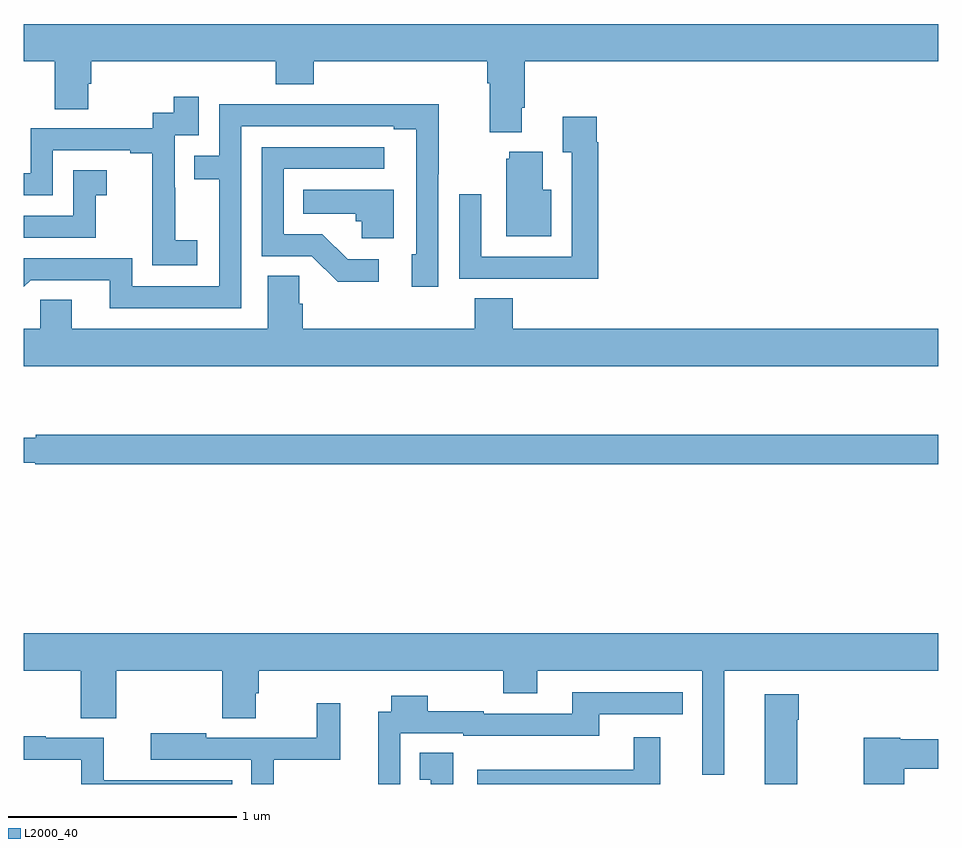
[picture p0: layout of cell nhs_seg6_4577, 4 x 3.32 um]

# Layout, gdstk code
import gdstk
lib = gdstk.Library(unit=1e-6, precision=1e-09)
def P(c, l, *ps):  # polygons
    for p in ps: c.add(gdstk.Polygon(p, *l))
L2000_40 = (2000, 40)

nhs_seg6_4577 = lib.new_cell('nhs_seg6_4577')
P(nhs_seg6_4577, L2000_40, [(383.179,956.458),(383.192,956.458),(383.192,956.66),(385,956.66),(385,956.824),(381,956.824),(381,956.66),(381.136,956.66),(381.136,956.452),(381.283,956.452),(381.283,956.562),(381.296,956.562),(381.296,956.66),(382.103,956.66),(382.103,956.561),(382.268,956.561),(382.268,956.66),(383.027,956.66),(383.027,956.564),(383.039,956.564),(383.039,956.351),(383.179,956.351)],
  [(381.76,955.879),(381.662,955.879),(381.662,956.108),(381.66,956.108),(381.66,956.337),(381.765,956.337),(381.765,956.506),(381.657,956.506),(381.657,956.436),(381.564,956.436),(381.564,956.367),(381.03,956.367),(381.03,956.172),(381,956.172),(381,956.076),(381.126,956.076),(381.126,956.271),(381.467,956.271),(381.467,956.259),(381.563,956.259),(381.563,955.975),(381.562,955.975),(381.562,955.769),(381.76,955.769)],
  [(381.951,956.376),(382.619,956.376),(382.619,956.364),(382.716,956.364),(382.716,955.818),(382.697,955.818),(382.697,955.674),(382.812,955.674),(382.812,956.167),(382.815,956.167),(382.815,956.474),(382.351,956.474),(382.351,956.472),(381.855,956.472),(381.855,956.247),(381.745,956.247),(381.745,956.146),(381.855,956.146),(381.855,955.677),(381.474,955.677),(381.474,955.8),(381,955.8),(381,955.674),(381.03,955.704),(381.377,955.704),(381.377,955.581),(381.951,955.581)],
  [(383.513,956.306),(383.506,956.306),(383.506,956.419),(383.357,956.419),(383.357,956.263),(383.397,956.263),(383.397,955.806),(383.001,955.806),(383.001,956.08),(382.905,956.08),(382.905,955.71),(383.221,955.71),(383.221,955.709),(383.513,955.709)],
  [(382.552,955.794),(382.417,955.794),(382.306,955.905),(382.137,955.905),(382.137,956.19),(382.576,956.19),(382.576,956.286),(382.041,956.286),(382.041,955.809),(382.26,955.809),(382.373,955.697),(382.552,955.697)],
  [(383.308,956.098),(383.269,956.098),(383.269,956.266),(383.123,956.266),(383.123,956.235),(383.111,956.235),(383.111,955.895),(383.308,955.895)],
  [(381.315,956.075),(381.364,956.075),(381.364,956.185),(381.216,956.185),(381.216,955.986),(381,955.986),(381,955.89),(381.315,955.89)],
  [(382.618,956.098),(382.222,956.098),(382.222,955.994),(382.453,955.994),(382.453,955.962),(382.479,955.962),(382.479,955.886),(382.618,955.886)],
  [(385,955.492),(383.138,955.492),(383.138,955.625),(382.973,955.625),(382.973,955.492),(382.22,955.492),(382.22,955.601),(382.206,955.601),(382.206,955.724),(382.067,955.724),(382.067,955.492),(381.211,955.492),(381.211,955.619),(381.072,955.619),(381.072,955.492),(381,955.492),(381,955.328),(385,955.328)],
  [(385,955.027),(381.052,955.027),(381.052,955.014),(381,955.014),(381,954.906),(381.05,954.906),(381.05,954.898),(385,954.898)],
  [(384.064,953.996),(385,953.996),(385,954.16),(381,954.16),(381,953.996),(381.25,953.996),(381.25,953.788),(381.405,953.788),(381.405,953.996),(381.868,953.996),(381.868,953.788),(382.015,953.788),(382.015,953.898),(382.028,953.898),(382.028,953.996),(383.098,953.996),(383.098,953.897),(383.245,953.897),(383.245,953.996),(383.967,953.996),(383.967,953.541),(384.064,953.541)],
  [(382.647,953.721),(382.923,953.721),(382.923,953.711),(383.518,953.711),(383.518,953.805),(383.882,953.805),(383.882,953.901),(383.399,953.901),(383.399,953.808),(383.013,953.808),(383.013,953.818),(382.767,953.818),(382.767,953.887),(382.607,953.887),(382.607,953.817),(382.55,953.817),(382.55,953.5),(382.647,953.5)],
  [(384.384,953.78),(384.389,953.78),(384.389,953.893),(384.242,953.893),(384.242,953.5),(384.384,953.5)],
  [(382.093,953.606),(382.384,953.606),(382.384,953.854),(382.282,953.854),(382.282,953.703),(381.799,953.703),(381.799,953.722),(381.555,953.722),(381.555,953.607),(381.996,953.607),(381.996,953.5),(382.093,953.5)],
  [(381.911,953.517),(381.35,953.517),(381.35,953.703),(381.096,953.703),(381.096,953.708),(381,953.708),(381,953.606),(381.251,953.606),(381.251,953.5),(381.911,953.5)],
  [(383.785,953.704),(383.669,953.704),(383.669,953.563),(382.983,953.563),(382.983,953.5),(383.785,953.5)],
  [(384.851,953.566),(385,953.566),(385,953.695),(384.834,953.695),(384.834,953.703),(384.673,953.703),(384.673,953.5),(384.851,953.5)],
  [(382.878,953.636),(382.732,953.636),(382.732,953.518),(382.781,953.518),(382.781,953.5),(382.878,953.5)])

lib.write_gds('nhs_seg6_4577.gds')
